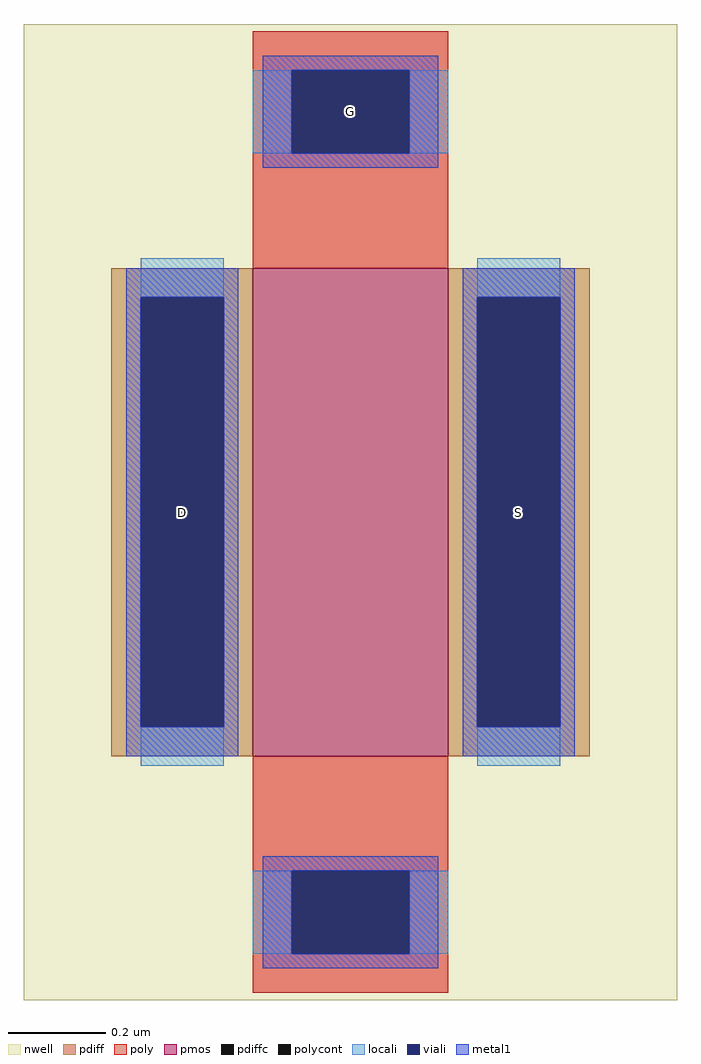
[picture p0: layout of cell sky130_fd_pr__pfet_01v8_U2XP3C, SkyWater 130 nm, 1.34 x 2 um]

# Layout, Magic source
magic
tech sky130A
magscale 1 2
<< nwell >>
rect -134 -200 134 200
<< pmos >>
rect -40 -100 40 100
<< pdiff >>
rect -98 88 -40 100
rect -98 -88 -86 88
rect -52 -88 -40 88
rect -98 -100 -40 -88
rect 40 88 98 100
rect 40 -88 52 88
rect 86 -88 98 88
rect 40 -100 98 -88
<< pdiffc >>
rect -86 -88 -52 88
rect 52 -88 86 88
<< poly >>
rect -40 181 40 197
rect -40 147 -24 181
rect 24 147 40 181
rect -40 100 40 147
rect -40 -147 40 -100
rect -40 -181 -24 -147
rect 24 -181 40 -147
rect -40 -197 40 -181
<< polycont >>
rect -24 147 24 181
rect -24 -181 24 -147
<< locali >>
rect -40 147 -24 181
rect 24 147 40 181
rect -86 88 -52 104
rect -86 -104 -52 -88
rect 52 88 86 104
rect 52 -104 86 -88
rect -40 -181 -24 -147
rect 24 -181 40 -147
<< viali >>
rect -24 147 24 181
rect -86 -88 -52 88
rect 52 -88 86 88
rect -24 -181 24 -147
<< metal1 >>
rect -36 181 36 187
rect -36 147 -24 181
rect 24 147 36 181
rect -36 141 36 147
rect -92 88 -46 100
rect -92 -88 -86 88
rect -52 -88 -46 88
rect -92 -100 -46 -88
rect 46 88 92 100
rect 46 -88 52 88
rect 86 -88 92 88
rect 46 -100 92 -88
rect -36 -147 36 -141
rect -36 -181 -24 -147
rect 24 -181 36 -147
rect -36 -187 36 -181
<< labels >>
rlabel pdiffc -69 0 -69 0 0 D
port 1 nsew
rlabel pdiffc 69 0 69 0 0 S
port 2 nsew
rlabel polycont 0 164 0 164 0 G
port 3 nsew
<< properties >>
string gencell sky130_fd_pr__pfet_01v8
string library sky130
string parameters w 1.0 l 0.4 m 1 nf 1 diffcov 100 polycov 100 guard 0 glc 0 grc 0 gtc 0 gbc 0 tbcov 100 rlcov 100 topc 1 botc 1 poverlap 0 doverlap 1 lmin 0.15 wmin 0.42 class mosfet compatible {sky130_fd_pr__pfet_01v8  sky130_fd_pr__pfet_01v8_lvt sky130_fd_pr__pfet_01v8_hvt  sky130_fd_pr__pfet_g5v0d10v5} full_metal 0 conn_gates 0 viasrc 100 viadrn 100 viagate 100 viagb 0 viagr 0 viagl 0 viagt 0 doports 1
<< end >>
